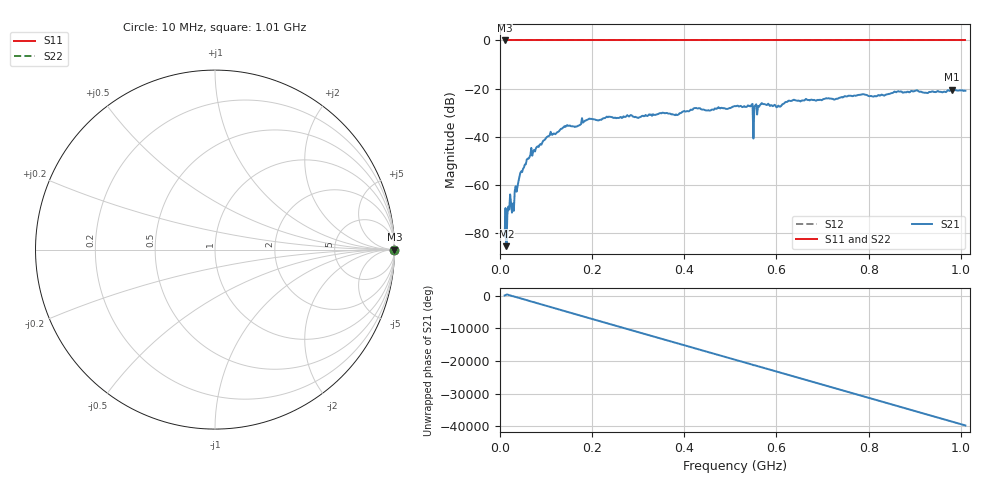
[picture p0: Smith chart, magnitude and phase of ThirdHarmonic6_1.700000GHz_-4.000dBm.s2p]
! 8/16/2025 8:25:42 PM
! C:\ANRITSUVNA\TEMP\TEMP.S2P
! CHANNEL.1
! TR.MEASUREMENT
! RAW.DATA
! RF.CORRECTION.OFF
! AVERAGING.OFF
! IF.BANDWIDTH: 5KHZ
! SWEEPTYPE:  FREQ.SWEEP(Linear)
! Reference Plane Port Info
! PORT:  PORT1  PORT2
! DISTANCE:  0  m  0  m
! TIME:  0  s  0  s
! PHASE.OFFSET:  0  deg.  0  deg.
! LOSS:  0  dB  0  dB
! REF.LOSS:  0  dB  0  dB
! REF.FREQ:  0  Hz  0  Hz
! Power Info
! POWER:  -20  dBm  -20  dBm
! EFF.POWER:  -20  dBm  -20  dBm
! SOURCE.ATTEN:  0  dB  0  dB
! TEST.ATTEN:  0  dB  0  dB
# GHZ S RI R 50.0
! FREQ.GHZ  S11RE  S11IM  S21RE  S21IM  S12RE  S12IM  S22RE  S22IM
!; PortSelection: Port_12
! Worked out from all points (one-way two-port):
!   501 points, 10 MHz to 1.01 GHz, reference 50 ohm
!   highest |S21| = -20.45 dB at 980 MHz (marker M1); lowest = -85.6 dB at 14 MHz (marker M2)
!   lowest |S11| = 0.0 dB at 10 MHz (marker M3)
!   |S11| at or under -10 dB: nowhere
!   |S22| runs from 0.0 to 0.0 dB; largest |S21 - S12| = 1.1
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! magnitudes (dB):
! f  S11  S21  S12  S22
! 10 MHz  0.0  -81.6  0.0  0.0
! 14 MHz  0.0  -85.6  0.0  0.0
! 20 MHz  0.0  -70.4  0.0  0.0
! 28 MHz  0.0  -67.9  0.0  0.0
! 44 MHz  0.0  -55.2  0.0  0.0
! 64 MHz  0.0  -48.6  0.0  0.0
! 106 MHz  0.0  -39.8  0.0  0.0
! 178 MHz  0.0  -32.3  0.0  0.0
! 344 MHz  0.0  -30.6  0.0  0.0
! 382 MHz  0.0  -30.8  0.0  0.0
! 510 MHz  0.0  -27.3  0.0  0.0
! 544 MHz  0.0  -27.4  0.0  0.0
! 546 MHz  0.0  -26.7  0.0  0.0
! 554 MHz  0.0  -27.1  0.0  0.0
! 556 MHz  0.0  -26.6  0.0  0.0
! 570 MHz  0.0  -26.4  0.0  0.0
! 604 MHz  0.0  -27.1  0.0  0.0
! 630 MHz  0.0  -25.2  0.0  0.0
! 678 MHz  0.0  -24.7  0.0  0.0
! 844 MHz  0.0  -22.2  0.0  0.0
! 980 MHz  0.0  -20.4  0.0  0.0
! 1.01 GHz  0.0  -20.9  0.0  0.0
